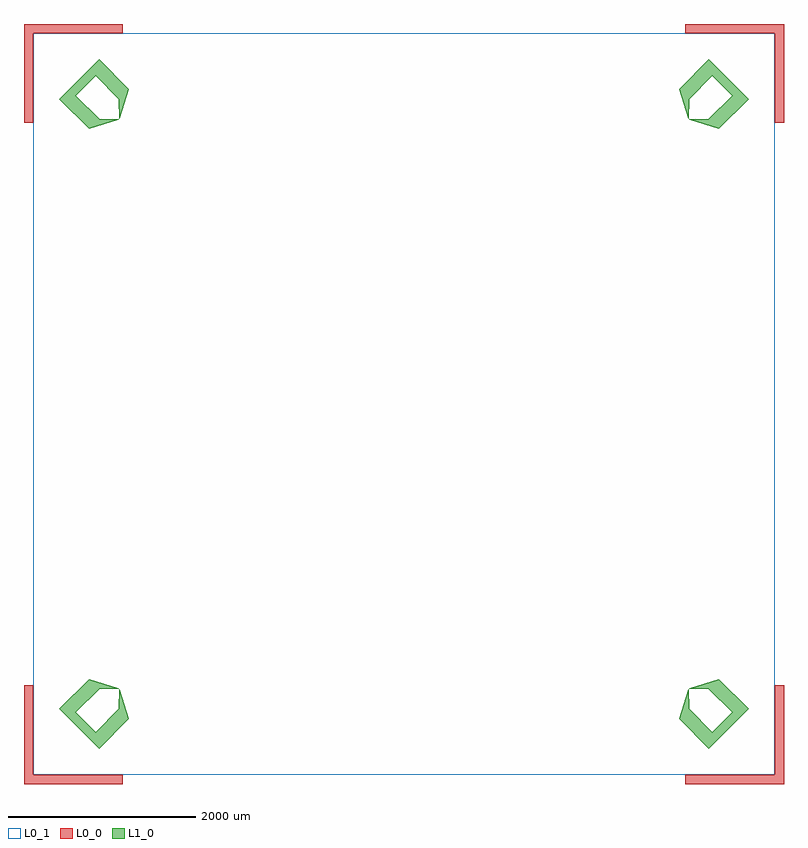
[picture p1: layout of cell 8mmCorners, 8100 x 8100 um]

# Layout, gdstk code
from math import pi, radians
import gdstk
lib = gdstk.Library(unit=1e-6, precision=1e-09)
def R(c, l, rs):  # rectangles x0, y0, x1, y1
    for r in rs: c.add(gdstk.rectangle(r[:2], r[2:], *l))
def P(c, l, *ps):  # polygons
    for p in ps: c.add(gdstk.Polygon(p, *l))
L0_0 = (0, 0)
L0_1 = (0, 1)
L1_0 = (1, 0)

launcher = lib.new_cell('Launcher')
P(launcher, L1_0, [(-300,-300),(-300,150),(-11,300),(-5,300),(-150,150),(-150,-200),(150,-200),(150,150),(5,300),(11,300),(300,150),(300,-300)])

c_8mmcorners = lib.new_cell('8mmCorners')
P(c_8mmcorners, L0_0, [(-4050,-4050),(-4050,-3000),(-3950,-3000),(-3950,-3950),(-3000,-3950),(-3000,-4050)],
  [(3000,-4050),(3000,-3950),(3950,-3950),(3950,-3000),(4050,-3000),(4050,-4050)],
  [(-4050,3000),(-4050,4050),(-3000,4050),(-3000,3950),(-3950,3950),(-3950,3000)],
  [(3950,3000),(3950,3950),(3000,3950),(3000,4050),(4050,4050),(4050,3000)])
R(c_8mmcorners, L0_1, [(-3950,-3950,3950,3950)])
c_8mmcorners.add(gdstk.Reference(launcher, (3250,3250), rotation=radians(135)))
c_8mmcorners.add(gdstk.Reference(launcher, (3250,-3250), rotation=radians(45)))
c_8mmcorners.add(gdstk.Reference(launcher, (-3250,-3250), rotation=radians(315)))
c_8mmcorners.add(gdstk.Reference(launcher, (-3250,3250), rotation=radians(225)))

lib.write_gds('8mmCorners.gds')
